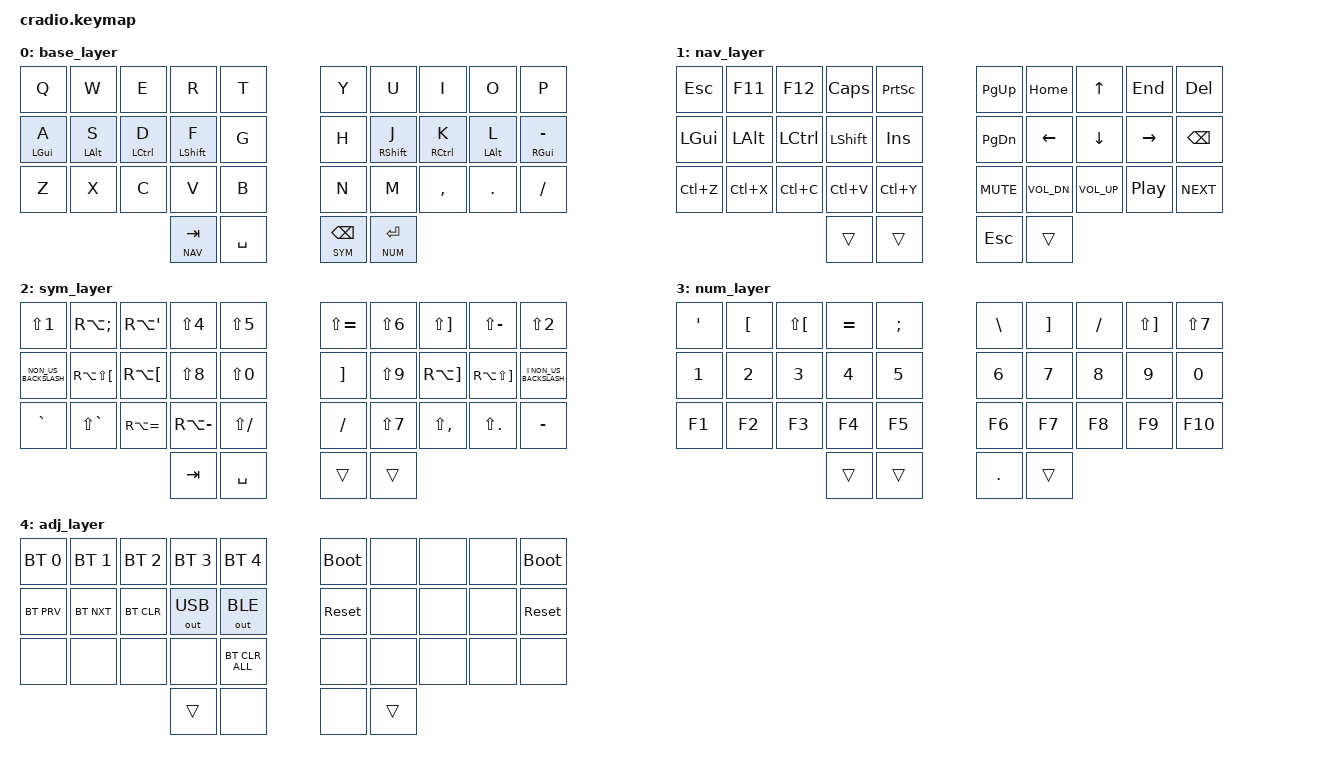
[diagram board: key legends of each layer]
/*
 * Ferris Sweep (cradio) - ZMK - layout per italiano + programmazione
 *
 * IMPORTANTE: sul computer lascia il layout di tastiera ITALIANO.
 * I simboli qui sotto (IT_...) sono gia' tradotti per il layout italiano
 * di Windows/Linux. Su macOS il layout italiano e' diverso.
 *
 * Livelli:
 *   BASE  QWERTY con "home row mods" (tieni premuto A S D F / J K L ' = Win Alt Ctrl Shift)
 *   NAV   tieni premuto il pollice SINISTRO esterno (Tab): frecce, pagine, copia/incolla
 *   SYM   tieni premuto il pollice DESTRO interno (Backspace): parentesi e simboli
 *   NUM   tieni premuto il pollice DESTRO esterno (Invio): numeri, accentate, F1-F10
 *   ADJ   NAV + NUM insieme: Bluetooth, USB/BLE, bootloader
 */

#include <behaviors.dtsi>
#include <dt-bindings/zmk/keys.h>
#include <dt-bindings/zmk/bt.h>
#include <dt-bindings/zmk/outputs.h>

#define BASE 0
#define NAV  1
#define SYM  2
#define NUM  3
#define ADJ  4

/* ---- Simboli per il layout ITALIANO del sistema operativo ---- */
#define IT_AGRV  SQT              /* a' */
#define IT_EGRV  LBKT             /* e' (e grave) */
#define IT_EACU  LS(LBKT)         /* e' (e acuta) */
#define IT_IGRV  EQUAL            /* i' */
#define IT_OGRV  SEMI             /* o' */
#define IT_UGRV  BSLH             /* u' */
#define IT_APOS  MINUS            /* '  apostrofo */
#define IT_QUES  LS(MINUS)        /* ? */
#define IT_PLUS  RBKT             /* + */
#define IT_STAR  LS(RBKT)         /* * */
#define IT_MINS  SLASH            /* - */
#define IT_UNDS  LS(SLASH)        /* _ */
#define IT_EXCL  LS(N1)           /* ! */
#define IT_DQUO  LS(N2)           /* " */
#define IT_DLR   LS(N4)           /* $ */
#define IT_PERC  LS(N5)           /* % */
#define IT_AMPR  LS(N6)           /* & */
#define IT_SLSH  LS(N7)           /* / */
#define IT_LPRN  LS(N8)           /* ( */
#define IT_RPRN  LS(N9)           /* ) */
#define IT_EQL   LS(N0)           /* = */
#define IT_CIRC  LS(EQUAL)        /* ^ */
#define IT_SCLN  LS(COMMA)        /* ; */
#define IT_COLN  LS(DOT)          /* : */
#define IT_LT    NON_US_BACKSLASH /* < */
#define IT_GT    LS(NON_US_BACKSLASH) /* > */
#define IT_BSLS  GRAVE            /* \ */
#define IT_PIPE  LS(GRAVE)        /* | */
#define IT_LBRC  RA(LBKT)         /* [ */
#define IT_RBRC  RA(RBKT)         /* ] */
#define IT_LCBR  RA(LS(LBKT))     /* { */
#define IT_RCBR  RA(LS(RBKT))     /* } */
#define IT_AT    RA(SEMI)         /* @ */
#define IT_HASH  RA(SQT)          /* # */
#define IT_TILD  RA(EQUAL)        /* ~  (solo Linux; su Windows: Alt+126) */
#define IT_GRV   RA(MINUS)        /* `  (solo Linux; su Windows: Alt+96) */

/ {
    behaviors {
        /* home row mods mano sinistra: si attivano solo se premi un tasto con l'altra mano */
        hml: home_row_mod_left {
            compatible = "zmk,behavior-hold-tap";
            #binding-cells = <2>;
            flavor = "balanced";
            tapping-term-ms = <280>;
            quick-tap-ms = <175>;
            require-prior-idle-ms = <150>;
            bindings = <&kp>, <&kp>;
            hold-trigger-key-positions = <5 6 7 8 9 15 16 17 18 19 25 26 27 28 29 30 31 32 33>;
            hold-trigger-on-release;
        };
        hmr: home_row_mod_right {
            compatible = "zmk,behavior-hold-tap";
            #binding-cells = <2>;
            flavor = "balanced";
            tapping-term-ms = <280>;
            quick-tap-ms = <175>;
            require-prior-idle-ms = <150>;
            bindings = <&kp>, <&kp>;
            hold-trigger-key-positions = <0 1 2 3 4 10 11 12 13 14 20 21 22 23 24 30 31 32 33>;
            hold-trigger-on-release;
        };
    };

    conditional_layers {
        compatible = "zmk,conditional-layers";
        adjust {
            if-layers = <NAV NUM>;
            then-layer = <ADJ>;
        };
    };

    keymap {
        compatible = "zmk,keymap";

        base_layer {
            bindings = <
    &kp Q          &kp W          &kp E           &kp R           &kp T            &kp Y   &kp U           &kp I           &kp O          &kp P
    &hml LGUI A    &hml LALT S    &hml LCTRL D    &hml LSHFT F    &kp G            &kp H   &hmr RSHFT J    &hmr RCTRL K    &hmr LALT L    &hmr RGUI IT_APOS
    &kp Z          &kp X          &kp C           &kp V           &kp B            &kp N   &kp M           &kp COMMA       &kp DOT        &kp IT_MINS
                                                  &lt NAV TAB     &kp SPACE        &lt SYM BSPC    &lt NUM RET
            >;
        };

        nav_layer {
            bindings = <
    &kp ESC        &kp F11        &kp F12         &kp CAPS        &kp PSCRN        &kp PG_UP    &kp HOME    &kp UP       &kp END      &kp DEL
    &kp LGUI       &kp LALT       &kp LCTRL       &kp LSHFT       &kp INS          &kp PG_DN    &kp LEFT    &kp DOWN     &kp RIGHT    &kp BSPC
    &kp LC(Z)      &kp LC(X)      &kp LC(C)       &kp LC(V)       &kp LC(Y)        &kp C_MUTE   &kp C_VOL_DN &kp C_VOL_UP &kp C_PP    &kp C_NEXT
                                                  &trans          &trans           &kp ESC      &trans
            >;
        };

        sym_layer {
            bindings = <
    &kp IT_EXCL    &kp IT_AT      &kp IT_HASH     &kp IT_DLR      &kp IT_PERC      &kp IT_CIRC  &kp IT_AMPR &kp IT_STAR  &kp IT_QUES  &kp IT_DQUO
    &kp IT_LT      &kp IT_LCBR    &kp IT_LBRC     &kp IT_LPRN     &kp IT_EQL       &kp IT_PLUS  &kp IT_RPRN &kp IT_RBRC  &kp IT_RCBR  &kp IT_GT
    &kp IT_BSLS    &kp IT_PIPE    &kp IT_TILD     &kp IT_GRV      &kp IT_UNDS      &kp IT_MINS  &kp IT_SLSH &kp IT_SCLN  &kp IT_COLN  &kp IT_APOS
                                                  &kp TAB         &kp SPACE        &trans       &trans
            >;
        };

        num_layer {
            bindings = <
    &kp IT_AGRV    &kp IT_EGRV    &kp IT_EACU     &kp IT_IGRV     &kp IT_OGRV      &kp IT_UGRV  &kp IT_PLUS &kp IT_MINS  &kp IT_STAR  &kp IT_SLSH
    &kp N1         &kp N2         &kp N3          &kp N4          &kp N5           &kp N6       &kp N7      &kp N8       &kp N9       &kp N0
    &kp F1         &kp F2         &kp F3          &kp F4          &kp F5           &kp F6       &kp F7      &kp F8       &kp F9       &kp F10
                                                  &trans          &trans           &kp DOT      &trans
            >;
        };

        adj_layer {
            bindings = <
    &bt BT_SEL 0   &bt BT_SEL 1   &bt BT_SEL 2    &bt BT_SEL 3    &bt BT_SEL 4     &bootloader  &none       &none        &none        &bootloader
    &bt BT_PRV     &bt BT_NXT     &bt BT_CLR      &out OUT_USB    &out OUT_BLE     &sys_reset   &none       &none        &none        &sys_reset
    &none          &none          &none           &none           &bt BT_CLR_ALL   &none        &none       &none        &none        &none
                                                  &trans          &none            &none        &trans
            >;
        };
    };
};
